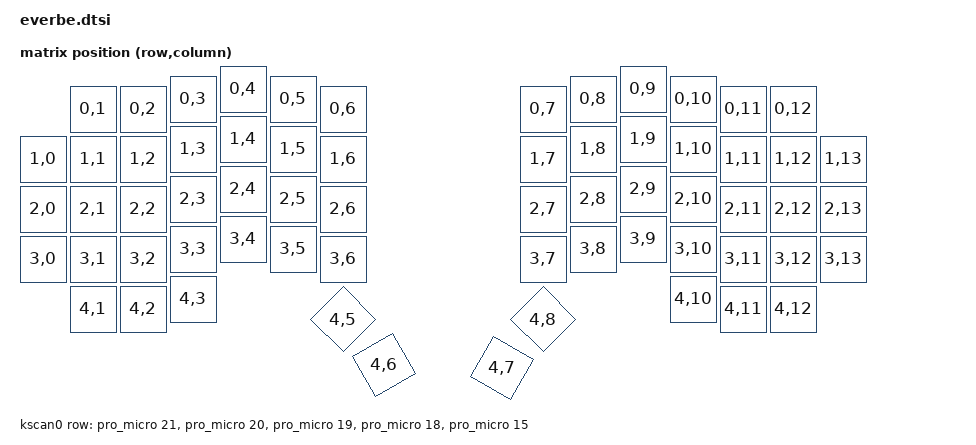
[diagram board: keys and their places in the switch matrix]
// Both halves use this file so the specific `everbe_*.overlay` need to import
// it. 
// It defines:
// - kscan: which GPIO pins ZMK uses to listen to keyboard events
// - matrix_transform: acts as a bridge between GPIO pins and keyboard layout
// - physical_layout
#include <dt-bindings/zmk/matrix_transform.h>
#include <physical_layouts.dtsi>

/ {
    chosen {
        zmk,kscan = &kscan0;
        /* zmk,matrix_transform = &default_transform; */
    };

    // physical layout generated by https://zmk-physical-layout-converter.streamlit.app/
    physical_layout0: physical_layout_0 {
        compatible = "zmk,physical-layout";
        display-name = "Default";

        kscan = <&kscan0>;
        transform = <&default_transform>;

        keys  //                     w   h    x    y     rot    rx    ry
            = <&key_physical_attrs 100 100  100   40       0     0     0>
            , <&key_physical_attrs 100 100  200   40       0     0     0>
            , <&key_physical_attrs 100 100  300   20       0     0     0>
            , <&key_physical_attrs 100 100  400    0       0     0     0>
            , <&key_physical_attrs 100 100  500   20       0     0     0>
            , <&key_physical_attrs 100 100  600   40       0     0     0>
            , <&key_physical_attrs 100 100 1000   40       0     0     0>
            , <&key_physical_attrs 100 100 1100   20       0     0     0>
            , <&key_physical_attrs 100 100 1200    0       0     0     0>
            , <&key_physical_attrs 100 100 1300   20       0     0     0>
            , <&key_physical_attrs 100 100 1400   40       0     0     0>
            , <&key_physical_attrs 100 100 1500   40       0     0     0>
            , <&key_physical_attrs 100 100    0  140       0     0     0>
            , <&key_physical_attrs 100 100  100  140       0     0     0>
            , <&key_physical_attrs 100 100  200  140       0     0     0>
            , <&key_physical_attrs 100 100  300  120       0     0     0>
            , <&key_physical_attrs 100 100  400  100       0     0     0>
            , <&key_physical_attrs 100 100  500  120       0     0     0>
            , <&key_physical_attrs 100 100  600  140       0     0     0>
            , <&key_physical_attrs 100 100 1000  140       0     0     0>
            , <&key_physical_attrs 100 100 1100  120       0     0     0>
            , <&key_physical_attrs 100 100 1200  100       0     0     0>
            , <&key_physical_attrs 100 100 1300  120       0     0     0>
            , <&key_physical_attrs 100 100 1400  140       0     0     0>
            , <&key_physical_attrs 100 100 1500  140       0     0     0>
            , <&key_physical_attrs 100 100 1600  140       0     0     0>
            , <&key_physical_attrs 100 100    0  240       0     0     0>
            , <&key_physical_attrs 100 100  100  240       0     0     0>
            , <&key_physical_attrs 100 100  200  240       0     0     0>
            , <&key_physical_attrs 100 100  300  220       0     0     0>
            , <&key_physical_attrs 100 100  400  200       0     0     0>
            , <&key_physical_attrs 100 100  500  220       0     0     0>
            , <&key_physical_attrs 100 100  600  240       0     0     0>
            , <&key_physical_attrs 100 100 1000  240       0     0     0>
            , <&key_physical_attrs 100 100 1100  220       0     0     0>
            , <&key_physical_attrs 100 100 1200  200       0     0     0>
            , <&key_physical_attrs 100 100 1300  220       0     0     0>
            , <&key_physical_attrs 100 100 1400  240       0     0     0>
            , <&key_physical_attrs 100 100 1500  240       0     0     0>
            , <&key_physical_attrs 100 100 1600  240       0     0     0>
            , <&key_physical_attrs 100 100    0  340       0     0     0>
            , <&key_physical_attrs 100 100  100  340       0     0     0>
            , <&key_physical_attrs 100 100  200  340       0     0     0>
            , <&key_physical_attrs 100 100  300  320       0     0     0>
            , <&key_physical_attrs 100 100  400  300       0     0     0>
            , <&key_physical_attrs 100 100  500  320       0     0     0>
            , <&key_physical_attrs 100 100  600  340       0     0     0>
            , <&key_physical_attrs 100 100 1000  340       0     0     0>
            , <&key_physical_attrs 100 100 1100  320       0     0     0>
            , <&key_physical_attrs 100 100 1200  300       0     0     0>
            , <&key_physical_attrs 100 100 1300  320       0     0     0>
            , <&key_physical_attrs 100 100 1400  340       0     0     0>
            , <&key_physical_attrs 100 100 1500  340       0     0     0>
            , <&key_physical_attrs 100 100 1600  340       0     0     0>
            , <&key_physical_attrs 100 100  100  440       0     0     0>
            , <&key_physical_attrs 100 100  200  440       0     0     0>
            , <&key_physical_attrs 100 100  300  420       0     0     0>
            , <&key_physical_attrs 100 100  650  440    4500   650   440>
            , <&key_physical_attrs 100 100  800  620   15000   800   620>
            , <&key_physical_attrs 100 100  950  540    3000   950   540>
            , <&key_physical_attrs 100 100 1050  440    4500  1050   440>
            , <&key_physical_attrs 100 100 1300  420       0     0     0>
            , <&key_physical_attrs 100 100 1400  440       0     0     0>
            , <&key_physical_attrs 100 100 1500  440       0     0     0>
            ;
    };

    default_transform: keymap_transform_0 {
        compatible = "zmk,matrix-transform";
        columns = <14>;
        rows = <5>;
// | SW6  | SW5  | SW4  | SW3  | SW2  | SW1  |                 | SW1  | SW2  | SW3  | SW4  | SW5  | SW6  |
// | SW12 | SW11 | SW10 | SW9  | SW8  | SW7  |                 | SW7  | SW8  | SW9  | SW10 | SW11 | SW12 |
// | SW18 | SW17 | SW16 | SW15 | SW14 | SW13 |                 | SW13 | SW14 | SW15 | SW16 | SW17 | SW18 |
// | SW24 | SW23 | SW22 | SW21 | SW20 | SW19 |                 | SW19 | SW20 | SW21 | SW22 | SW23 | SW24 |
// | SW30 | SW29 | SW28 | SW27 | SW26 | SW25 |                 | SW25 | SW26 | SW27 | SW28 | SW29 | SW30 |

        map = <
        RC(0,1) RC(0,2) RC(0,3) RC(0,4) RC(0,5) RC(0,6)        RC(0,7) RC(0,8) RC(0,9) RC(0,10) RC(0,11) RC(0,12)
RC(1,0) RC(1,1) RC(1,2) RC(1,3) RC(1,4) RC(1,5) RC(1,6)        RC(1,7) RC(1,8) RC(1,9) RC(1,10) RC(1,11) RC(1,12) RC(1,13)
RC(2,0) RC(2,1) RC(2,2) RC(2,3) RC(2,4) RC(2,5) RC(2,6)        RC(2,7) RC(2,8) RC(2,9) RC(2,10) RC(2,11) RC(2,12) RC(2,13)
RC(3,0) RC(3,1) RC(3,2) RC(3,3) RC(3,4) RC(3,5) RC(3,6)        RC(3,7) RC(3,8) RC(3,9) RC(3,10) RC(3,11) RC(3,12) RC(3,13)
        RC(4,1) RC(4,2) RC(4,3)         RC(4,5) RC(4,6)        RC(4,7) RC(4,8)         RC(4,10) RC(4,11) RC(4,12)
        >;
    };

    // The kscan node defines the controller GPIO pins that are used to scan
    // for key press and release events.
    kscan0: kscan {
        compatible = "zmk,kscan-gpio-matrix";
        wakeup-source;
        diode-direction = "col2row";
        row-gpios
            = <&pro_micro 21 (GPIO_ACTIVE_HIGH | GPIO_PULL_DOWN)> // Row A from the schematic file
            , <&pro_micro 20 (GPIO_ACTIVE_HIGH | GPIO_PULL_DOWN)> // Row B from the schematic file
            , <&pro_micro 19 (GPIO_ACTIVE_HIGH | GPIO_PULL_DOWN)> // Row C from the schematic file
            , <&pro_micro 18 (GPIO_ACTIVE_HIGH | GPIO_PULL_DOWN)> // Row D from the schematic file
            , <&pro_micro 15 (GPIO_ACTIVE_HIGH | GPIO_PULL_DOWN)> // Row E from the schematic file
            ;

    };
};
